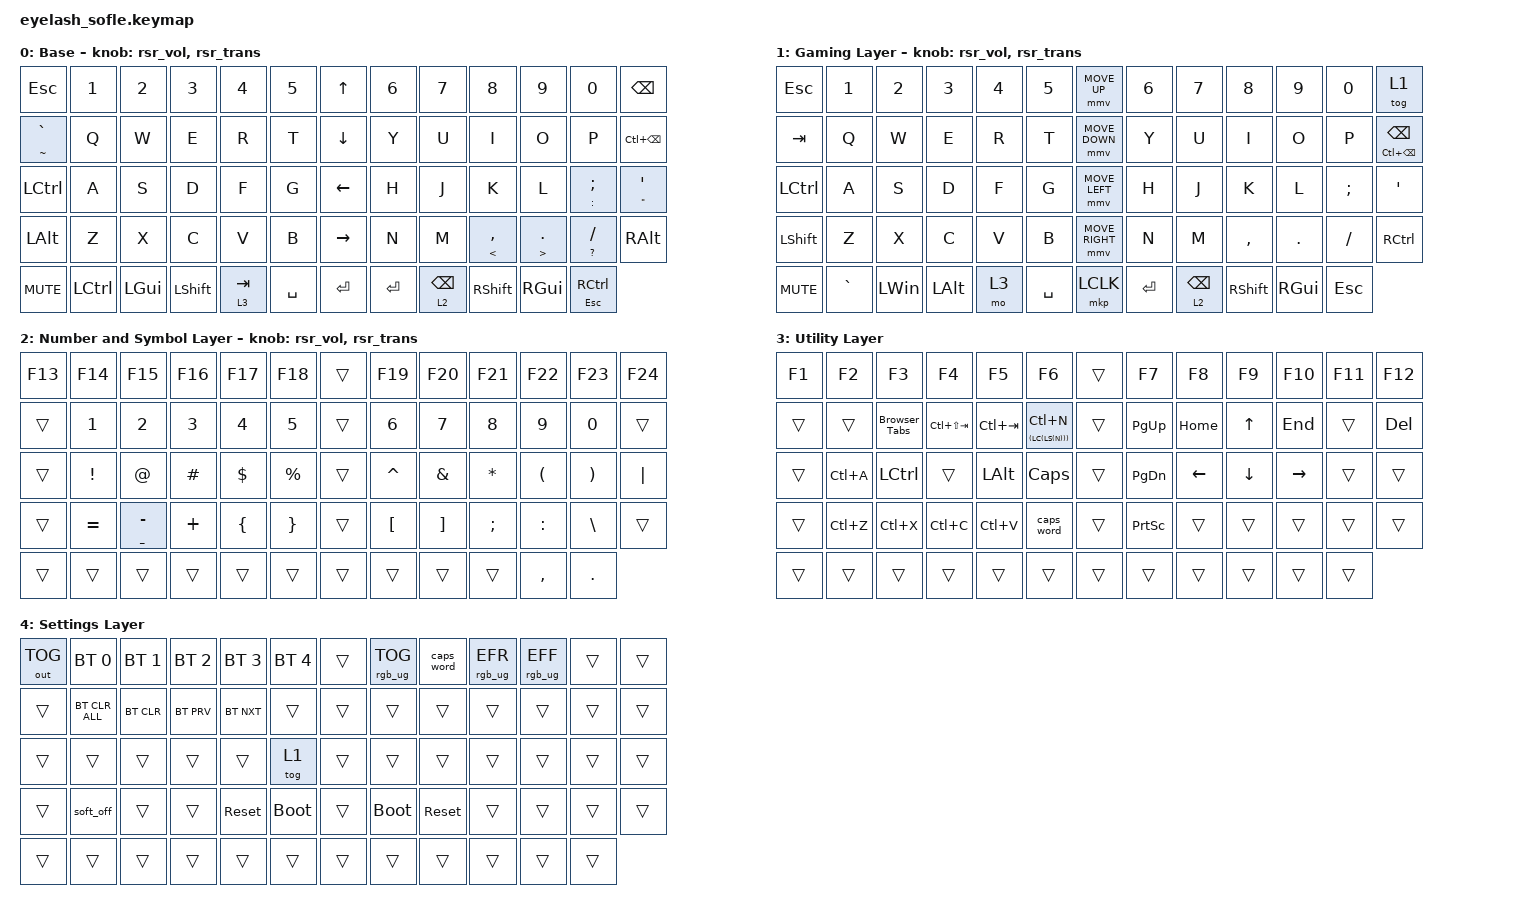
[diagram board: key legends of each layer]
#define ZMK_POINTING_DEFAULT_MOVE_VAL 1200  // 600
#define ZMK_POINTING_DEFAULT_SCRL_VAL 25   // 10

#include <input/processors.dtsi>
#include <zephyr/dt-bindings/input/input-event-codes.h>
#include <behaviors/runtime-sensor-rotate.dtsi>
#include <behaviors.dtsi>
#include <dt-bindings/zmk/bt.h>
#include <dt-bindings/zmk/keys.h>
#include <dt-bindings/zmk/outputs.h>
#include <dt-bindings/zmk/pointing.h>
#include <dt-bindings/zmk/rgb.h>

&mmv_input_listener { input-processors = <&zip_xy_scaler 2 1>; };

&msc_input_listener { input-processors = <&zip_scroll_scaler 2 1>; };

&msc {
    acceleration-exponent = <1>;      // 0
    time-to-max-speed-ms = <100>;       // 300
    delay-ms = <0>;                   // 0
};

&mmv {
    time-to-max-speed-ms = <500>;
    acceleration-exponent = <1>;
    trigger-period-ms = <16>;
};

&soft_off { hold-time-ms = <2000>; };

/ {
    scroll_encoder: scroll_encoder {
        compatible = "zmk,behavior-sensor-rotate";
        #sensor-binding-cells = <0>;
        bindings = <&msc SCRL_DOWN>, <&msc SCRL_UP>;

        tap-ms = <100>;
    };

    behaviors {
        rsr_vol: rsr_vol {
            compatible = "zmk,behavior-runtime-sensor-rotate";
            #sensor-binding-cells = <0>;
            tap-ms = <5>;
            cw-binding = <&kp C_VOL_UP>;
            ccw-binding = <&kp C_VOL_DN>;
        };

        rsr_trans: rsr_trans {
            compatible = "zmk,behavior-runtime-sensor-rotate";
            #sensor-binding-cells = <0>;
            tap-ms = <0>;
        };

        auto_shift: auto_shift {
            compatible = "zmk,behavior-hold-tap";
            label = "AUTO_SHIFT";
            bindings = <&kp>, <&kp>;

            #binding-cells = <2>;
            tapping-term-ms = <200>;
            quick-tap-ms = <180>;
        };

        Browser_Tabs: Browser_Tabs {
            compatible = "zmk,behavior-tap-dance";
            label = "BROWSER_TABS";
            #binding-cells = <0>;
            bindings = <&kp LC(W)>, <&mt (LC(LS(T))) LC(T)>;
        };

        lth: lth {
            compatible = "zmk,behavior-hold-tap";
            label = "LTH";
            bindings = <&mo>, <&kp>;

            #binding-cells = <2>;
            tapping-term-ms = <200>;
            quick-tap-ms = <180>;
        };
    };

    combos { compatible = "zmk,combos"; };

    macros {
        SHIFT_MCLK: SHIFT_MCLK {
            compatible = "zmk,behavior-macro";
            #binding-cells = <0>;
            bindings =
                <&macro_press>,
                <&kp LEFT_SHIFT>,
                <&macro_press>,
                <&mkp MB3>,
                <&macro_pause_for_release>,
                <&macro_release>,
                <&kp LEFT_SHIFT &mkp MB3>;

            label = "SHIFT_MCLK";
        };
    };

    keymap {
        compatible = "zmk,keymap";

        Base {
            bindings = <
&kp ESC                  &kp NUMBER_1  &kp N2        &kp N3          &kp N4      &kp N5       &kp UP_ARROW     &kp N6     &kp N7            &kp N8                       &kp N9                           &kp N0                       &kp BACKSPACE
&auto_shift TILDE GRAVE  &kp Q         &kp W         &kp E           &kp R       &kp T        &kp DOWN_ARROW   &kp Y      &kp U             &kp I                        &kp O                            &kp P                        &kp LC(BACKSPACE)
&kp LEFT_CONTROL         &kp A         &kp S         &kp D           &kp F       &kp G        &kp LEFT_ARROW   &kp H      &kp J             &kp K                        &kp L                            &auto_shift COLON SEMICOLON  &auto_shift DOUBLE_QUOTES SINGLE_QUOTE
&kp LEFT_ALT             &kp Z         &kp X         &kp C           &kp V       &kp B        &kp RIGHT_ARROW  &kp N      &kp M             &auto_shift LESS_THAN COMMA  &auto_shift GREATER_THAN PERIOD  &auto_shift QUESTION SLASH   &kp RIGHT_ALT
&kp C_MUTE               &kp LCTRL     &kp LEFT_GUI  &kp LEFT_SHIFT  &lth 3 TAB  &kp SPACE    &kp ENTER        &kp ENTER  &lth 2 BACKSPACE  &kp RIGHT_SHIFT              &kp RGUI                         &mt ESCAPE RIGHT_CONTROL
            >;

            sensor-bindings = <&rsr_vol &rsr_trans>;
            display-name = "Base";
        };

        Gaming {
            bindings = <
&kp ESC     &kp N1     &kp NUMBER_2  &kp N3        &kp N4  &kp N5       &mmv MOVE_UP     &kp N6   &kp N7            &kp N8           &kp N9    &kp N0    &tog 1
&kp TAB     &kp Q      &kp W         &kp E         &kp R   &kp T        &mmv MOVE_DOWN   &kp Y    &kp U             &kp I            &kp O     &kp P     &mt LC(BACKSPACE) BACKSPACE
&kp LCTRL   &kp A      &kp S         &kp D         &kp F   &kp G        &mmv MOVE_LEFT   &kp H    &kp J             &kp K            &kp L     &kp SEMI  &kp SQT
&kp LSHFT   &kp Z      &kp X         &kp C         &kp V   &kp B        &mmv MOVE_RIGHT  &kp N    &kp M             &kp COMMA        &kp DOT   &kp FSLH  &kp RCTRL
&kp C_MUTE  &kp GRAVE  &kp LEFT_WIN  &kp LEFT_ALT  &mo 3   &kp SPACE    &mkp LCLK        &kp RET  &lth 2 BACKSPACE  &kp RIGHT_SHIFT  &kp RGUI  &kp ESC
            >;

            sensor-bindings = <&rsr_vol &rsr_trans>;
            display-name = "Gaming Layer";
        };

        NumberSymbol {
            bindings = <
&kp F13  &kp F14          &kp F15                  &kp F16   &kp F17         &kp F18            &trans  &kp F19           &kp F20            &kp F21       &kp F22               &kp F23                &kp F24
&trans   &kp N1           &kp N2                   &kp N3    &kp N4          &kp N5             &trans  &kp N6            &kp N7             &kp N8        &kp N9                &kp N0                 &trans
&trans   &kp EXCLAMATION  &kp AT_SIGN              &kp HASH  &kp DOLLAR      &kp PERCENT        &trans  &kp CARET         &kp AMPERSAND      &kp ASTERISK  &kp LEFT_PARENTHESIS  &kp RIGHT_PARENTHESIS  &kp PIPE
&trans   &kp EQUAL        &auto_shift UNDER MINUS  &kp PLUS  &kp LEFT_BRACE  &kp RIGHT_BRACE    &trans  &kp LEFT_BRACKET  &kp RIGHT_BRACKET  &kp SEMI      &kp COLON             &kp BACKSLASH          &trans
&trans   &trans           &trans                   &trans    &trans          &trans             &trans  &trans            &trans             &trans        &kp COMMA             &kp PERIOD
            >;

            display-name = "Number and Symbol Layer";
            sensor-bindings = <&rsr_vol &rsr_trans>;
        };

        Utility {
            bindings = <
&kp F1  &kp F2     &kp F3         &kp F4           &kp F5       &kp F6                   &trans  &kp F7           &kp F8          &kp F9          &kp F10          &kp F11  &kp F12
&trans  &trans     &Browser_Tabs  &kp LC(LS(TAB))  &kp LC(TAB)  &mt (LC(LS(N))) LC(N)    &trans  &kp PAGE_UP      &kp HOME        &kp UP_ARROW    &kp END          &trans   &kp DEL
&trans  &kp LC(A)  &kp LCTRL      &trans           &kp LALT     &kp CAPS                 &trans  &kp PAGE_DOWN    &kp LEFT_ARROW  &kp DOWN_ARROW  &kp RIGHT_ARROW  &trans   &trans
&trans  &kp LC(Z)  &kp LC(X)      &kp LC(C)        &kp LC(V)    &caps_word               &trans  &kp PRINTSCREEN  &trans          &trans          &trans           &trans   &trans
&trans  &trans     &trans         &trans           &trans       &trans                   &trans  &trans           &trans          &trans          &trans           &trans
            >;

            label = "Utility Layer";
        };

        Settings {
            bindings = <
&out OUT_TOG  &bt BT_SEL 0    &bt BT_SEL 1  &bt BT_SEL 2  &bt BT_SEL 3  &bt BT_SEL 4    &trans  &rgb_ug RGB_TOG  &caps_word  &rgb_ug RGB_EFR  &rgb_ug RGB_EFF  &trans  &trans
&trans        &bt BT_CLR_ALL  &bt BT_CLR    &bt BT_PRV    &bt BT_NXT    &trans          &trans  &trans           &trans      &trans           &trans           &trans  &trans
&trans        &trans          &trans        &trans        &trans        &tog 1          &trans  &trans           &trans      &trans           &trans           &trans  &trans
&trans        &soft_off       &trans        &trans        &sys_reset    &bootloader     &trans  &bootloader      &sys_reset  &trans           &trans           &trans  &trans
&trans        &trans          &trans        &trans        &trans        &trans          &trans  &trans           &trans      &trans           &trans           &trans
            >;

            label = "Settings Layer";
        };
    };

    conditional_layers {
        compatible = "zmk,conditional-layers";

        adjustment-layer {
            if-layers = <2 3>;
            then-layer = <4>;
        };
    };
};
